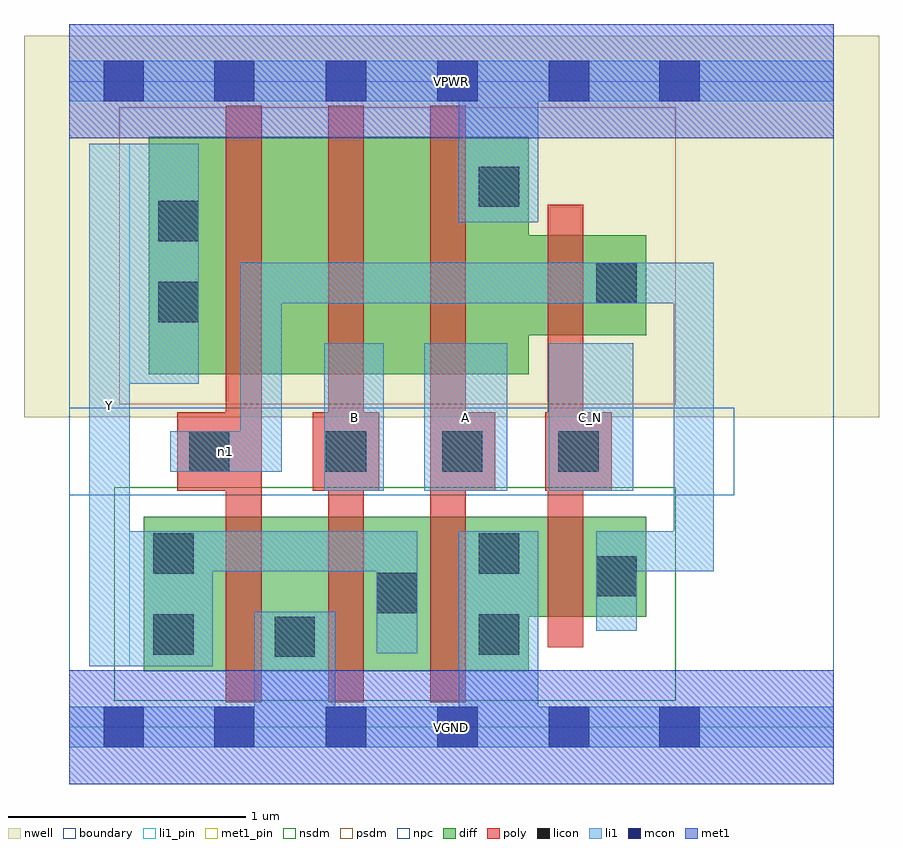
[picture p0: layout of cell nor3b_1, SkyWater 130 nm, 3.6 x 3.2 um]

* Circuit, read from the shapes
.subckt nor3b_1 A B C_N VGND VPWR Y n1
XM1 VGND n1 Y VSUBS sky130_fd_pr__nfet_01v8 w=0.65 l=0.15
XM2 Y B VGND VSUBS sky130_fd_pr__nfet_01v8 w=0.65 l=0.15
XM3 VGND A Y VSUBS sky130_fd_pr__nfet_01v8 w=0.65 l=0.15
XM4 n1 C_N VGND VSUBS sky130_fd_pr__nfet_01v8 w=0.42 l=0.15
XM5 n2 n1 Y n3 sky130_fd_pr__pfet_01v8 w=1 l=0.15
XM6 n4 B n2 n3 sky130_fd_pr__pfet_01v8 w=1 l=0.15
XM7 VPWR A n4 n3 sky130_fd_pr__pfet_01v8 w=1 l=0.15
XM8 n1 C_N VPWR n3 sky130_fd_pr__pfet_01v8 w=0.42 l=0.15
.ends

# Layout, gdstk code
import gdstk
lib = gdstk.Library(unit=1e-6, precision=1e-09)
def R(c, l, rs):  # rectangles x0, y0, x1, y1
    for r in rs: c.add(gdstk.rectangle(r[:2], r[2:], *l))
def A(c, l, x, y, w, h, nx, ny, dx, dy):  # array of equal rectangles
    R(c, l, [(x+i*dx, y+j*dy, x+i*dx+w, y+j*dy+h) for i in range(nx) for j in range(ny)])
nwell = (64, 20)
diff = (65, 20)
poly = (66, 20)
licon = (66, 44)
li1_pin = (67, 16)
li1 = (67, 20)
mcon = (67, 44)
met1_pin = (68, 16)
met1 = (68, 20)
nsdm = (93, 44)
psdm = (94, 20)
npc = (95, 20)
boundary = (235, 4)

nor3b_1 = lib.new_cell('nor3b_1')
R(nor3b_1, nwell, [(-0.19,1.305,3.41,2.91), (0,1.305,3.22,2.91)])
R(nor3b_1, diff, [(0.315,0.235,1.935,0.885), (0.315,0.465,2.43,0.885), (0.335,1.485,1.935,2.485), (0.335,1.65,2.43,2.07)])
A(nor3b_1, poly, 0.66, 0.105, 0.15, 2.51, 3, 1, 0.43, 0)
R(nor3b_1, poly, [(2.015,0.335,2.165,2.2), (0.455,0.995,0.81,1.325), (1.025,0.995,1.305,1.325), (1.52,0.995,1.795,1.325), (2.005,0.995,2.285,1.325)])
A(nor3b_1, licon, 1.08, 1.075, 0.17, 0.17, 3, 1, 0.49, 0)
R(nor3b_1, licon, [(0.865,0.295,1.035,0.465), (0.355,0.305,0.525,0.475), (1.725,0.305,1.895,0.475), (1.295,0.48,1.465,0.65), (2.22,0.55,2.39,0.72), (0.355,0.645,0.525,0.815), (1.725,0.645,1.895,0.815), (0.505,1.075,0.675,1.245), (0.375,1.705,0.545,1.875), (2.22,1.785,2.39,1.955), (0.375,2.045,0.545,2.215), (1.725,2.19,1.895,2.36)])
R(nor3b_1, li1_pin, [(0.085,0.255,0.255,2.455), (1.075,0.995,1.325,1.615), (1.495,0.995,1.845,1.615), (2.02,0.995,2.375,1.615)])
R(nor3b_1, li1, [(0,-0.085,3.22,0.085), (0.78,-0.085,1.12,0.485), (1.64,-0.085,1.975,0.825), (0.085,0.255,0.605,0.825), (0.085,0.255,0.255,2.455), (1.295,0.31,1.465,0.825), (2.22,0.405,2.39,0.825), (0.085,0.655,1.465,0.825), (2.22,0.655,2.715,0.825), (2.545,0.655,2.715,1.955), (1.075,0.995,1.325,1.615), (1.495,0.995,1.845,1.615), (2.02,0.995,2.375,1.615), (0.425,1.075,0.895,1.245), (0.72,1.075,0.895,1.955), (0.085,1.445,0.545,2.455), (0.72,1.785,2.715,1.955), (1.64,2.125,1.975,2.805), (0,2.635,3.22,2.805)])
A(nor3b_1, mcon, 0.61, -0.085, 0.17, 0.17, 4, 2, 0.47, 2.72)
R(nor3b_1, mcon, [(0.145,-0.085,0.315,0.085), (2.485,-0.085,2.655,0.085), (0.145,2.635,0.315,2.805), (2.485,2.635,2.655,2.805)])
R(nor3b_1, met1_pin, [(0,-0.24,3.22,0.24), (0,2.48,3.22,2.96)])
R(nor3b_1, met1, [(0,-0.24,3.22,0.24), (0,2.48,3.22,2.96)])
R(nor3b_1, nsdm, [(0.19,0.11,2.555,1.01)])
R(nor3b_1, psdm, [(0.21,1.36,2.555,2.61)])
R(nor3b_1, npc, [(0,0.975,2.8,1.345)])
R(nor3b_1, boundary, [(0,0,3.22,2.72)])
nor3b_1.add(gdstk.Label('A', (1.67,1.305), layer=67, texttype=5))
nor3b_1.add(gdstk.Label('B', (1.2,1.305), layer=67, texttype=5))
nor3b_1.add(gdstk.Label('C_N', (2.197,1.305), layer=67, texttype=5))
nor3b_1.add(gdstk.Label('Y', (0.17,1.355), layer=67, texttype=5))
nor3b_1.add(gdstk.Label('n1', (0.66,1.16), layer=67, texttype=5))
nor3b_1.add(gdstk.Label('VPWR', (1.61,2.72), layer=68, texttype=5))
nor3b_1.add(gdstk.Label('VGND', (1.61,0), layer=68, texttype=5))
nor3b_1.add(gdstk.Label('A', (1.67,1.305), layer=67, texttype=16))
nor3b_1.add(gdstk.Label('B', (1.2,1.305), layer=67, texttype=16))
nor3b_1.add(gdstk.Label('C_N', (2.197,1.305), layer=67, texttype=16))
nor3b_1.add(gdstk.Label('Y', (0.17,1.355), layer=67, texttype=16))
nor3b_1.add(gdstk.Label('VPWR', (1.61,2.72), layer=68, texttype=16))
nor3b_1.add(gdstk.Label('VGND', (1.61,0), layer=68, texttype=16))

lib.write_gds('nor3b_1.gds')
